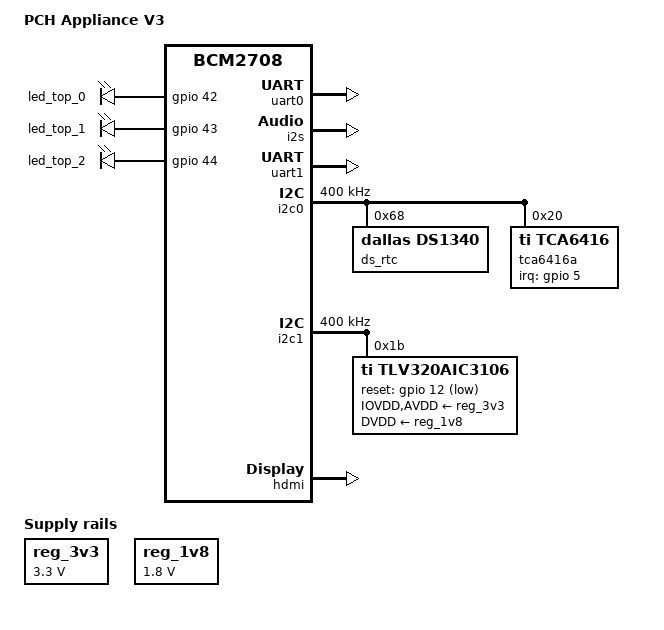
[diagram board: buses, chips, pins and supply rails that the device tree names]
/*
* Copyright (C) 2018 Gumstix, Inc. - https://www.gumstix.com/
*
* This program is free software; you can redistribute it and/or modify
* it under the terms of the GNU General Public License version 2 or
* (at your option) any later version as published by the Free Software
* Foundation.
*
* This program is distributed in the hope that it will be useful,
* but WITHOUT ANY WARRANTY; without even the implied warranty of
* MERCHANTABILITY or FITNESS FOR A PARTICULAR PURPOSE.  See the
* GNU General Public License for more details.
*
*/
/dts-v1/;
/plugin/;

/ {
  compatible = "brcm,bcm2708";

  fragment@0 {
    target-path = "/";
    __overlay__ {
      model = "PCH Appliance V3";
      autobsp_overlay {
        model = "PCH Appliance V3";
        status = "okay";
      };
      None {
        status = "okay";
      };
      leds {
        status = "okay";
        pinctrl-names = "default";
        pinctrl-0 = < &leds_default >;
        compatible = "gpio-leds";
        type = "led";

        led_top_0 {
          status = "okay";
          type = "led";
          default-state = "off";
          label = "led_top_0";
          linux,default-trigger = "none";
          gpios = < &gpio 42 0 >;
        };

        led_top_1 {
          status = "okay";
          type = "led";
          default-state = "off";
          label = "led_top_1";
          linux,default-trigger = "none";
          gpios = < &gpio 43 0 >;
        };

        led_top_2 {
          status = "okay";
          type = "led";
          default-state = "off";
          label = "led_top_2";
          linux,default-trigger = "none";
          gpios = < &gpio 44 0 >;
        };
      };
    };
  };

  fragment@1 {
    target-path = "/soc";
    __overlay__ {
      reg_3v3:regulator@0 {
        compatible = "regulator-fixed";
        reg = < 0 >;
        regulator-name = "REG_3V3";
        regulator-min-microvolt = < 3300000 >;
        regulator-max-microvolt = < 3300000 >;
        regulator-always-on;
      };

      reg_1v8:regulator@1 {
        compatible = "regulator-fixed";
        reg = < 1 >;
        regulator-name = "REG_1V8";
        regulator-min-microvolt = < 1800000 >;
        regulator-max-microvolt = < 1800000 >;
        regulator-always-on;
      };
    };
  };


// uart0 devices
  fragment@2 {
    target = < &uart0 >;
    __overlay__ {
      status = "okay";
      pinctrl-names = "default";
      pinctrl-0 = < &uart0_default >;
      type = "uart";
    };
  };


// asp devices
  fragment@3 {
    target = < &i2s >;
    __overlay__ {
      status = "okay";
      pinctrl-names = "default";
      pinctrl-0 = < &i2s_default >;
      #sound-dai-cells = < 0 >;
    };
  };

  fragment@4 {
    target = < &sound >;
    __overlay__ {
      status = "okay";
      compatible = "simple-audio-card";
      simple-audio-card,routing = "Headphone Jack", "HPLOUT", "Headphone Jack", "HPROUT";
      simple-audio-card,widgets = "Headphone", "Headphone Jack";
      simple-audio-card,format = "i2s";
      type = "audio";
      simple-audio-card,name = "TLV320AIC3x Codec";
      simple-audio-card,frame-master = < &dailink0_master >;
      simple-audio-card,bitclock-master = < &dailink0_master >;
      dailink0_master: simple-audio-card,cpu {  sound-dai = < &i2s >;  };
      dailink0_slave: simple-audio-card,codec {  sound-dai = < &tlv320aic3106 >; system-clock-frequency = < 12000000 >; };
    };
  };


// uart1 devices
  fragment@5 {
    target = < &uart1 >;
    __overlay__ {
      status = "okay";
      pinctrl-names = "default";
      pinctrl-0 = < &uart1_default >;
    };
  };


// i2c_buses devices
  fragment@6 {
    target = < &i2c0 >;
    __overlay__ {
      status = "okay";
      pinctrl-names = "default";
      pinctrl-0 = < &i2c0_default >;
      clock-frequency = < 400000 >;
      #size-cells = < 0 >;
      #address-cells = < 1 >;
      ds_rtc: ds_rtc@68 {
        status = "okay";
        compatible = "dallas,ds1340";
        reg = < 0x68 >;
        type = "i2c";
        // trickle-resistor-ohms = < 2000 >;
      };
      tca6416a: tca6416a@20 {
        status = "okay";
        compatible = "ti,tca6416";
        type = "i2c";
        reg = < 0x20 >;
        #gpio-cells = < 2 >;
        // reset-gpios = < &gpio 4 1 >;
        interrupt-parent = < &gpio >;
        interrupts = < 5 8 >;
        gpio-controller;
      };
    };
  };

  fragment@7 {
    target = < &i2c1 >;
    __overlay__ {
      status = "okay";
      pinctrl-names = "default";
      pinctrl-0 = < &i2c1_default >;
      #size-cells = < 0 >;
      clock-frequency = < 400000 >;
      #address-cells = < 1 >;
      // changed from @1b
      tlv320aic3106: tlv320aic3106@1b {
        status = "okay";
        compatible = "ti,tlv320aic3106";
        ai3x-micbias-vg = < 2 >;
        reg = < 0x1b >;
        IOVDD-supply = < &reg_3v3 >;
        #sound-dai-cells = < 0 >;
        AVDD-supply = < &reg_3v3 >;
        type = "audio";
        DVDD-supply = < &reg_1v8 >;
        gpio-reset = < &gpio 12 1 >;
      };
    };
  };


// rpi-hdmi devices
  fragment@8 {
    target = < &hdmi >;
    __overlay__ {
      status = "okay";
      pinctrl-names = "default";
      pinctrl-0 = < &hdmi_default >;
      type = "rpi-hdmi";
    };
  };

  fragment@9 {
    target-path = "/chosen";
    __overlay__ {
      bootargs = "8250.nr_uarts=1";
    };
  };

  fragment@10 {
    target = < &gpio >;
    __overlay__ {

      i2c0_default: pinmux_i2c0_default {
        brcm,pins = <
            1 /* gpio1.scl0 */
            0 /* gpio0.sda0 */
            4 /* gpio4.gpio4 */
            5 /* gpio5.gpio5 */
        >;
        brcm,function = <  4   4   0   0  >;
        brcm,pull = < 0 0 2 0 >;
      };

      uart0_default: pinmux_uart0_default {
        brcm,pins = <
            15 /* gpio15.rxd0 */
            14 /* gpio14.txd0 */
        >;
        brcm,function = <  4   4  >;
        brcm,pull = < 2 0 >;
      };

      hdmi_default: pinmux_hdmi_default {
        brcm,pins = <
            45 /* gpio45.gpio45 */
        >;
        brcm,function = <  0  >;
      };

      leds_default: pinmux_leds_default {
        brcm,pins = <
            43 /* gpio43.gpio43 */
            44 /* gpio44.gpio44 */
            42 /* gpio42.gpio42 */
        >;
        brcm,function = <  1   1   1  >;
        brcm,pull = < 1 1 1 >;
      };

      i2c1_default: pinmux_i2c1_default {
        brcm,pins = <
            2 /* gpio2.sda1 */
            12 /* gpio12.gpio12 */
            3 /* gpio3.scl1 */
        >;
        brcm,function = <  4   0   4  >;
      };

      uart1_default: pinmux_uart1_default {
        brcm,pins = <
            32 /* gpio32.txd1 */
            33 /* gpio33.rxd1 */
        >;
        brcm,function = <  2   2  >;
        brcm,pull = < 0 2 >;
      };

      i2s_default: pinmux_i2s_default {
        brcm,pins = <
            19 /* gpio19.pcm_fs */
            18 /* gpio18.pcm_clk */
            20 /* gpio20.pcm_din */
            21 /* gpio21.pcm_dout */
        >;
        brcm,function = <  4   4   4   4  >;
      };
    };
  };
};
